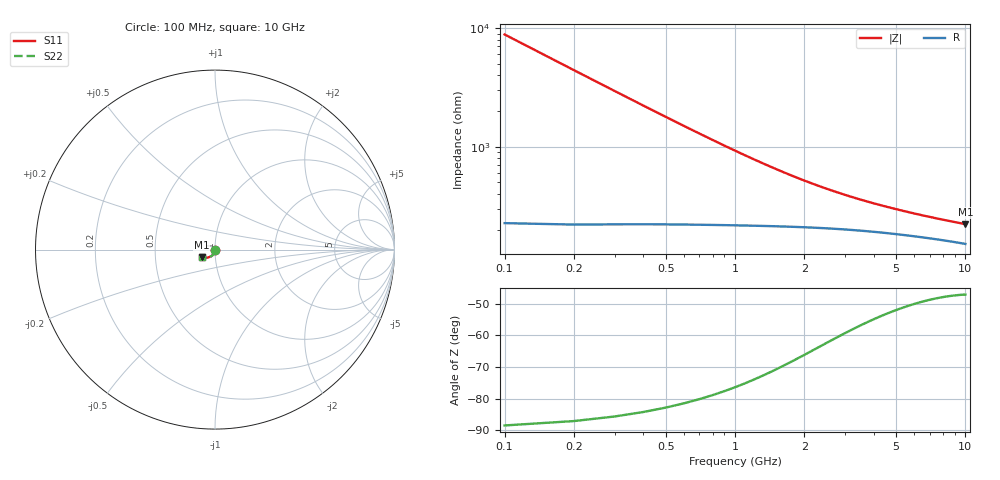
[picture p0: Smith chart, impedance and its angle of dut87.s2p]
! Touchstone file exported from HFSS 2024.1.0
!  File:  C:/UserFiles/LocalFiles/RDL_TSV_Batchsim/temp_TSV1_87_1778751504.aedt
!  Generated:  05:43:10 PM May 14, 2026
!  Design:  TSV1
!  Project:  temp_TSV1_87_1778751504
!  Setup:  Setup1
!  Solution:  Sweep
! Variables:
!  dtsv = 16.96um
!  hbump = 3um
!  htsv = 87.72um
!  lrdl = 252.1521522um
!  p = 40
!  p1 = 48.34um
!  t = 500um
!  trdl = 3um
!  wrdl = 24.89489489um
# GHz S MA R 50.000000
! Terminal data exported
! Port[1] = TSV22_T1
! Port[2] = TSV22_T2
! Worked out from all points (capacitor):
!   100 points, 100 MHz to 10 GHz, reference 50 ohm
!   read as one part in shunt: C = 180 fF near 100 MHz
!   lowest |Z| = 223 ohm at 10 GHz (marker M1)
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0.1  0.002484 -89.9  0.9998 -0.2  0.9998 -0.2  0.002484 -89.9
! Gamma 0 0 0 0
! Port Impedance 50 0 50 0
0.2  0.004979 -92.3  0.9996 -0.4  0.9996 -0.4  0.004979 -92.3
0.3  0.007464 -94.3  0.9992 -0.5  0.9992 -0.5  0.007464 -94.3
0.4  0.009924 -96.2  0.9987 -0.7  0.9987 -0.7  0.009924 -96.2
0.5  0.01235 -98.0  0.998 -0.9  0.998 -0.9  0.01235 -98.0
0.6  0.01474 -99.8  0.9972 -1.1  0.9972 -1.1  0.01474 -99.8
0.7  0.01707 -101.5  0.9963 -1.2  0.9963 -1.2  0.01707 -101.5
0.8  0.01936 -103.1  0.9954 -1.4  0.9954 -1.4  0.01936 -103.1
0.9  0.02159 -104.7  0.9943 -1.5  0.9943 -1.5  0.02159 -104.7
1.1  0.02586 -107.8  0.992 -1.8  0.992 -1.8  0.02586 -107.8
1.4  0.03176 -112.1  0.9881 -2.2  0.9881 -2.2  0.03176 -112.1
1.6  0.03536 -114.7  0.9853 -2.4  0.9853 -2.4  0.03536 -114.7
1.8  0.0387 -117.1  0.9826 -2.6  0.9826 -2.6  0.0387 -117.1
2.1  0.04323 -120.4  0.9784 -2.9  0.9784 -2.9  0.04323 -120.4
2.5  0.0485 -124.3  0.9732 -3.2  0.9732 -3.2  0.0485 -124.3
2.9  0.05301 -127.6  0.9683 -3.5  0.9683 -3.5  0.05301 -127.6
3.4  0.0578 -131.1  0.9628 -3.8  0.9628 -3.8  0.0578 -131.1
4.2  0.06399 -135.6  0.9553 -4.1  0.9553 -4.1  0.06399 -135.6
5.1  0.06945 -139.5  0.9484 -4.5  0.9484 -4.5  0.06945 -139.5
6.7  0.07667 -144.5  0.939 -5.1  0.939 -5.1  0.07667 -144.5
8.4  0.08212 -148.2  0.9318 -5.6  0.9318 -5.6  0.08212 -148.2
10  0.08596 -150.7  0.9268 -6.1  0.9268 -6.1  0.08596 -150.7
